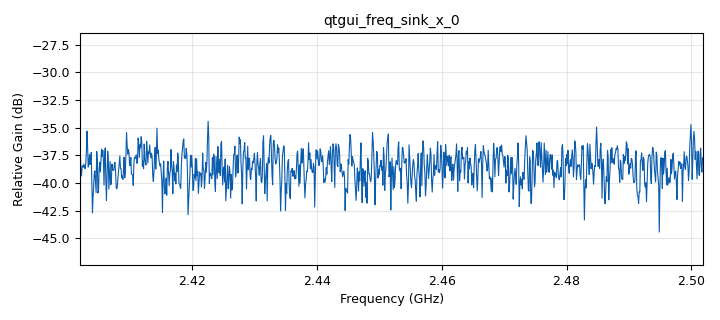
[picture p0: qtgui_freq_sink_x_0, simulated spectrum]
<?xml version='1.0' encoding='utf-8'?>
<?grc format='1' created='3.7.13'?>
<flow_graph>
<block>
<key>options</key>
<param><key>id</key><value>top_block</value></param>
<param><key>generate_options</key><value>qt_gui</value></param>
</block>
<block>
<key>variable</key>
<param><key>id</key><value>center_freq</value></param>
<param><key>value</key><value>2417e6</value></param>
</block>
<block>
<key>variable_qtgui_range</key>
<param><key>id</key><value>noise_gain</value></param>
<param><key>value</key><value>1</value></param>
<param><key>orient</key><value>Qt.Horizontal</value></param>
<param><key>start</key><value>1</value></param>
<param><key>step</key><value>1</value></param>
<param><key>stop</key><value>10</value></param>
</block>
<block>
<key>variable</key>
<param><key>id</key><value>samp_rate</value></param>
<param><key>value</key><value>100e6</value></param>
</block>
<block>
<key>variable_qtgui_chooser</key>
<param><key>id</key><value>wifi_channel</value></param>
<param><key>value</key><value>2452e6</value></param>
<param><key>label</key><value>2.4 GHz Channel</value></param>
<param><key>labels</key><value>["ch1", "ch2", "ch3", "ch4", "ch5", "ch6", "ch7", "ch8", "ch9", "ch10", "ch11", "ch12", "ch13", "ch14"]</value></param>
<param><key>num_opts</key><value>0</value></param>
<param><key>options</key><value>[2412e6, 2417e6, 2422e6, 2427e6, 2432e6, 2437e6, 2442e6, 2447e6, 2452e6, 2457e6, 2462e6, 2467e6, 2472e6, 2484e6]</value></param>
<param><key>orient</key><value>Qt.QHBoxLayout</value></param>
<param><key>type</key><value>real</value></param>
<param><key>widget</key><value>radio_buttons</value></param>
</block>
<block>
<key>analog_noise_source_x</key>
<param><key>id</key><value>analog_noise_source_x_0</value></param>
<param><key>amp</key><value>noise_gain</value></param>
<param><key>noise_type</key><value>analog.GR_GAUSSIAN</value></param>
<param><key>type</key><value>complex</value></param>
<param><key>seed</key><value>0</value></param>
</block>
<block>
<key>blocks_throttle</key>
<param><key>id</key><value>blocks_throttle_0</value></param>
<param><key>samples_per_second</key><value>samp_rate</value></param>
<param><key>type</key><value>complex</value></param>
</block>
<block>
<key>osmosdr_sink</key>
<param><key>id</key><value>osmosdr_sink_1</value></param>
<param><key>bb_gain0</key><value>20</value></param>
<param><key>freq0</key><value>center_freq</value></param>
<param><key>if_gain0</key><value>20</value></param>
<param><key>gain0</key><value>10</value></param>
<param><key>args</key><value></value></param>
<param><key>type</key><value>fc32</value></param>
<param><key>sample_rate</key><value>samp_rate</value></param>
<param><key>sync</key><value></value></param>
</block>
<block>
<key>qtgui_freq_sink_x</key>
<param><key>id</key><value>qtgui_freq_sink_x_0</value></param>
<param><key>autoscale</key><value>True</value></param>
<param><key>average</key><value>0.05</value></param>
<param><key>bw</key><value>samp_rate</value></param>
<param><key>fc</key><value>wifi_channel</value></param>
<param><key>fftsize</key><value>1024</value></param>
<param><key>grid</key><value>True</value></param>
<param><key>showports</key><value>True</value></param>
<param><key>type</key><value>complex</value></param>
<param><key>wintype</key><value>firdes.WIN_BLACKMAN_hARRIS</value></param>
</block>
<connection><source_block_id>analog_noise_source_x_0</source_block_id><sink_block_id>blocks_throttle_0</sink_block_id><source_key>0</source_key><sink_key>0</sink_key></connection>
<connection><source_block_id>blocks_throttle_0</source_block_id><sink_block_id>osmosdr_sink_1</sink_block_id><source_key>0</source_key><sink_key>0</sink_key></connection>
<connection><source_block_id>blocks_throttle_0</source_block_id><sink_block_id>qtgui_freq_sink_x_0</sink_block_id><source_key>0</source_key><sink_key>0</sink_key></connection>
</flow_graph>
